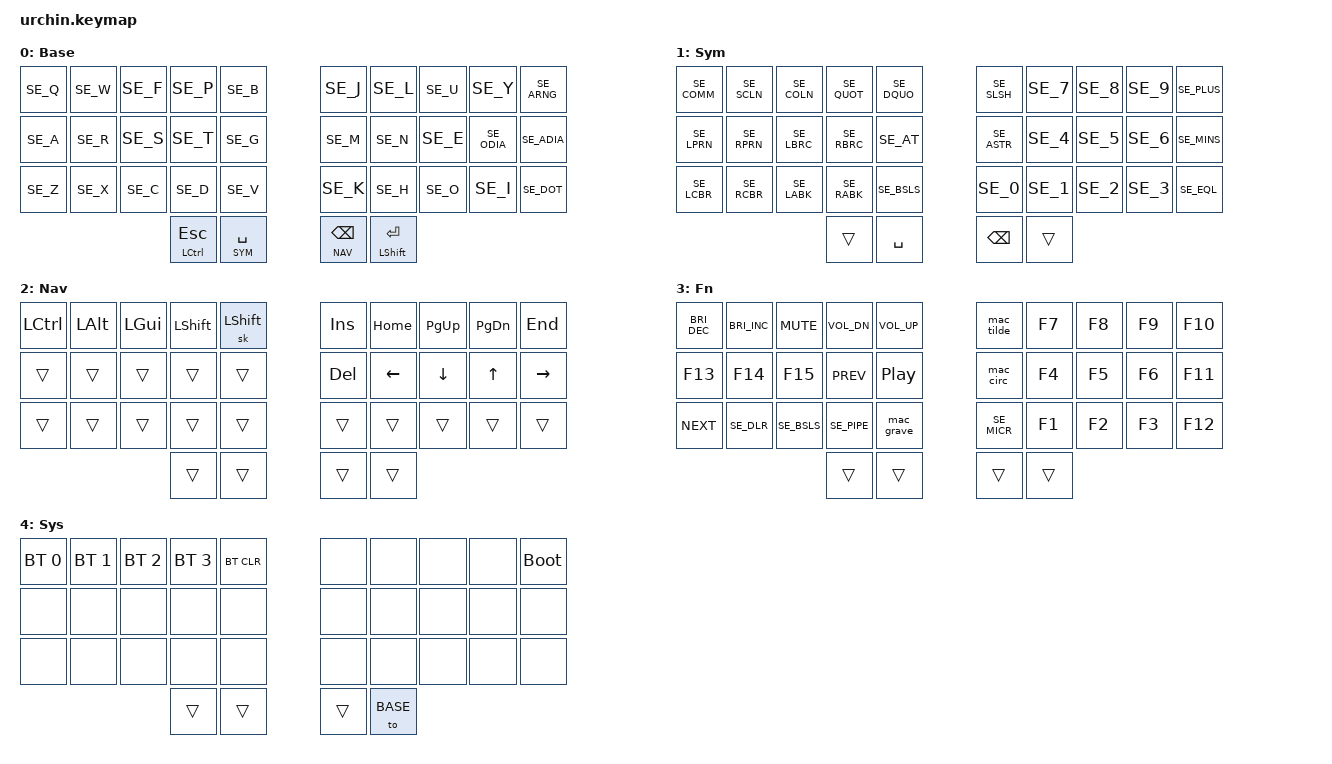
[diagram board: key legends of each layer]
/*
 * Urchin 34 — Colemak-DH, sv-SE host
 *
 *  0  1  2  3  4 |  5  6  7  8  9
 * 10 11 12 13 14 | 15 16 17 18 19
 * 20 21 22 23 24 | 25 26 27 28 29
 *            30 31 | 32 33
 */

#include <behaviors.dtsi>
#include <dt-bindings/zmk/keys.h>
#include <dt-bindings/zmk/bt.h>
#include <dt-bindings/zmk/outputs.h>

#include "keys_se.h"

#define BASE 0
#define SYM  1
#define NAV  2
#define FN   3
#define SYS  4

&sk {
    ignore-modifiers;
};

/ {
    macros {
        /* dead key + space = the bare accent */
        mac_tilde: mac_tilde {
            compatible = "zmk,behavior-macro";
            #binding-cells = <0>;
            bindings = <&kp SE_TILD>, <&kp SPACE>;
        };
        mac_circ: mac_circ {
            compatible = "zmk,behavior-macro";
            #binding-cells = <0>;
            bindings = <&kp SE_CIRC>, <&kp SPACE>;
        };
        mac_grave: mac_grave {
            compatible = "zmk,behavior-macro";
            #binding-cells = <0>;
            bindings = <&kp SE_GRV>, <&kp SPACE>;
        };
    };

    combos {
        compatible = "zmk,combos";

        combo_tab      { timeout-ms = <35>; key-positions = <1 2>;   layers = <BASE>; bindings = <&kp TAB>; };
        combo_esc      { timeout-ms = <35>; key-positions = <2 3>;   layers = <BASE>; bindings = <&kp ESC>; };
        combo_hyphen   { timeout-ms = <35>; key-positions = <21 23>; layers = <BASE>; bindings = <&kp SE_MINS>; };
        combo_slash    { timeout-ms = <35>; key-positions = <22 24>; layers = <BASE>; bindings = <&kp SE_SLSH>; };
        combo_capsword { timeout-ms = <35>; key-positions = <11 13>; layers = <BASE>; bindings = <&caps_word>; };
        combo_lgui     { timeout-ms = <35>; key-positions = <7 8>;   layers = <BASE>; bindings = <&sk LGUI>; };
    };

    keymap {
        compatible = "zmk,keymap";

        base_layer {
            label = "Base";
            bindings = <
&kp SE_Q  &kp SE_W  &kp SE_F  &kp SE_P  &kp SE_B     &kp SE_J  &kp SE_L  &kp SE_U  &kp SE_Y       &kp SE_ARNG
&kp SE_A  &kp SE_R  &kp SE_S  &kp SE_T  &kp SE_G     &kp SE_M  &kp SE_N  &kp SE_E  &kp SE_ODIA   &kp SE_ADIA
&kp SE_Z  &kp SE_X  &kp SE_C  &kp SE_D  &kp SE_V     &kp SE_K  &kp SE_H  &kp SE_O  &kp SE_I      &kp SE_DOT
                            &mt LCTL ESC   &lt SYM SPACE   &lt NAV BSPC   &mt LSHFT RET
            >;
        };

        sym_layer {
            label = "Sym";
            bindings = <
&kp SE_COMM &kp SE_SCLN &kp SE_COLN &kp SE_QUOT &kp SE_DQUO   &kp SE_SLSH &kp SE_7 &kp SE_8 &kp SE_9 &kp SE_PLUS
&kp SE_LPRN &kp SE_RPRN &kp SE_LBRC &kp SE_RBRC &kp SE_AT     &kp SE_ASTR &kp SE_4 &kp SE_5 &kp SE_6 &kp SE_MINS
&kp SE_LCBR &kp SE_RCBR &kp SE_LABK &kp SE_RABK &kp SE_BSLS   &kp SE_0    &kp SE_1 &kp SE_2 &kp SE_3 &kp SE_EQL
                            &trans   &kp SPACE   &kp BSPC   &trans
            >;
        };

        nav_layer {
            label = "Nav";
            bindings = <
&kp LCTL  &kp LALT  &kp LGUI  &kp LSHFT  &sk LSHFT   &kp INS   &kp HOME  &kp PG_UP  &kp PG_DN  &kp END
&trans    &trans    &trans    &trans     &trans       &kp DEL   &kp LEFT  &kp DOWN   &kp UP     &kp RIGHT
&trans    &trans    &trans    &trans     &trans       &trans    &trans    &trans     &trans     &trans
                            &trans   &trans   &trans   &trans
            >;
        };

        fn_layer {
            label = "Fn";
            bindings = <
&kp C_BRI_DEC &kp C_BRI_INC &kp C_MUTE &kp C_VOL_DN &kp C_VOL_UP   &mac_tilde &kp F7 &kp F8 &kp F9 &kp F10
&kp F13       &kp F14       &kp F15    &kp C_PREV   &kp C_PP       &mac_circ  &kp F4 &kp F5 &kp F6 &kp F11
&kp C_NEXT    &kp SE_DLR    &kp SE_BSLS &kp SE_PIPE &mac_grave     &kp SE_MICR &kp F1 &kp F2 &kp F3 &kp F12
                            &trans   &trans   &trans   &trans
            >;
        };

        sys_layer {
            label = "Sys";
            bindings = <
&bt BT_SEL 0   &bt BT_SEL 1   &bt BT_SEL 2   &bt BT_SEL 3   &bt BT_CLR   &none   &none   &none   &none   &bootloader
&none &none          &none          &none          &none        &none          &none               &none   &none   &none
&none          &none          &none          &none          &none        &none          &none               &none   &none   &none
                            &trans   &trans   &trans   &to BASE
            >;
        };
    };
};
